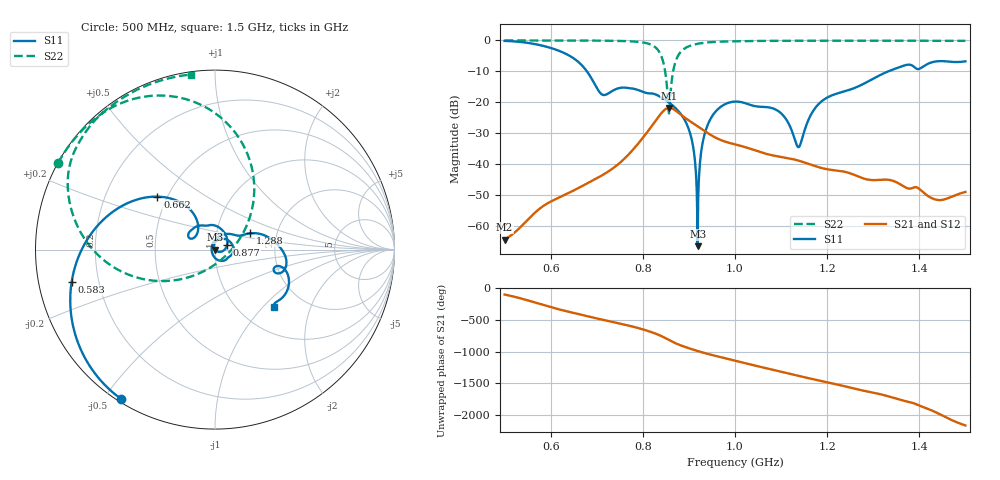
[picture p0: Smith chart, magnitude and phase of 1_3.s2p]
! TOUCHSTONE file generated by CST MICROWAVE STUDIO
! Date and time: Fri Oct 30 07:47:56 2020
! Project name: Scenario_1_Circular_Tissue_out_of_Line.cst
! Parameters = {dy1=-346; L_HA=400; MT=2.54; Rad_Dielectric=30; Rad_Lower=7.3; Rad_Upper=30; a_HA=580; a_WG=246; b_HA=500; b_WG=121; c_HA=0; c_WG=187; d_feed=85; dx1=520; h_feed=15; h_lower=18; h_upper=40}
! Header version: 2018
! Port assignment regex: !\s*Touchstone port\s*([0-9]+)\s*=\s*(CST MWS port|CST DS port)\s*([0-9]+|Zmin|Zmax)\s*\(\"(.*)\"\)(\s*mode\s*([0-9]+))?.*
! Touchstone port assignment:
! Touchstone port 1 = CST MWS port 1 ("")
! Touchstone port 2 = CST MWS port 2 ("")
# GHz S DB R 50
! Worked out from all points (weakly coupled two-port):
!   1001 points, 500 MHz to 1.5 GHz, reference 50 ohm
!   highest |S21| = -21.78 dB at 857 MHz (marker M1); lowest = -64.3 dB at 500 MHz (marker M2)
!   lowest |S11| = -66.5 dB at 919 MHz (marker M3), VSWR 1.00, Z = 50 + j0.0259 ohm
!   |S11| at or under -10 dB: 678.7 MHz to 1.332 GHz (653.8 MHz wide, 65 % of centre)
!   |S22| runs from -23.6 to 0.0 dB; largest |S21 - S12| = 3.4e-06
!   S11 on the Smith chart (normalised r, x): 500 MHz: 0.01, -0.55; 583 MHz: 0.10, -0.11; 662 MHz: 0.44, +0.32; 877 MHz: 1.14, +0.06; 1.288 GHz: 1.45, +0.28; 1.5 GHz: 1.42, -1.16
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0.5  -0.15 -122.4  -64.32 -97.1  -64.32 -97.1  -0.01 151.1
0.583  -1.74 -167.3  -53.59 99.8  -53.59 99.9  -0.02 145.4
0.662  -7.21 137.4  -47.55 -48.9  -47.55 -48.9  -0.04 138.8
0.667  -7.93 133.5  -47.15 -57.5  -47.15 -57.5  -0.04 138.4
0.713  -17.57 140.2  -43.45 -135.7  -43.45 -135.7  -0.08 133.2
0.79  -16.03 122.1  -33.31 94.0  -33.31 94.0  -0.47 116.8
0.834  -17.89 81.7  -24.67 -12.6  -24.67 -12.6  -3.33 82.1
0.847  -19.07 64.8  -22.44 -57.1  -22.44 -57.1  -8.81 53.3
0.857  -20.11 51.2  -21.78 -95.6  -21.78 -95.6  -23.59 -57.3
0.877  -22.80 21.1  -23.34 -164.5  -23.34 -164.5  -4.78 -170.5
0.904  -30.77 -26.4  -26.28 125.6  -26.28 125.6  -1.66 165.0
0.919  -66.48 146.9  -27.77 91.2  -27.77 91.2  -1.08 158.1
0.929  -33.68 107.5  -28.78 69.7  -28.78 69.7  -0.84 154.6
0.942  -26.83 84.1  -30.05 43.6  -30.05 43.6  -0.62 150.8
1  -19.76 3.2  -33.59 -59.9  -33.59 -59.9  -0.28 140.1
1.094  -22.83 -61.3  -37.49 136.8  -37.48 136.8  -0.13 130.2
1.137  -34.48 -172.8  -38.80 61.7  -38.80 61.7  -0.11 126.5
1.167  -23.42 79.7  -40.28 10.5  -40.28 10.5  -0.10 124.2
1.288  -13.33 24.9  -44.95 172.8  -44.95 172.8  -0.08 114.9
1.334  -9.91 10.4  -45.05 93.3  -45.05 93.3  -0.09 111.4
1.439  -6.74 -27.9  -51.53 -166.1  -51.53 -166.1  -0.11 103.1
1.5  -6.76 -44.4  -48.96 -3.5  -48.96 -3.5  -0.14 97.8
